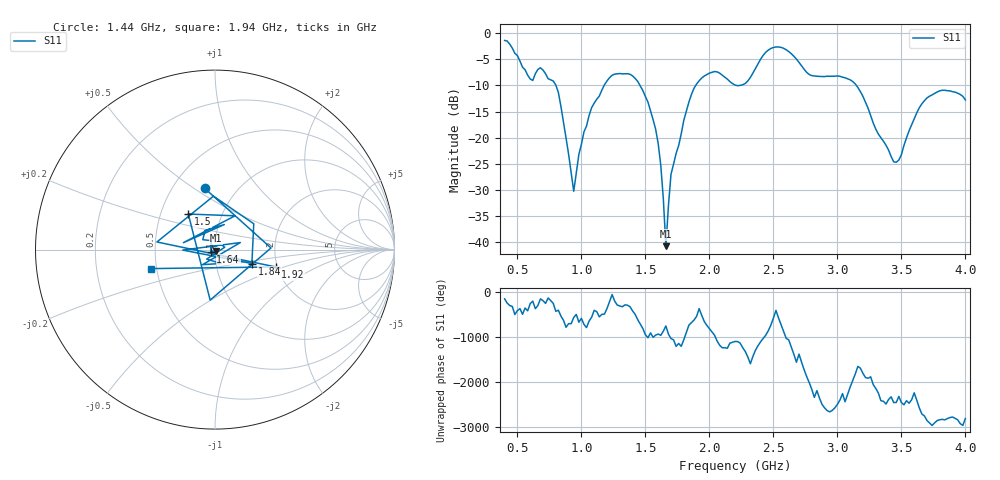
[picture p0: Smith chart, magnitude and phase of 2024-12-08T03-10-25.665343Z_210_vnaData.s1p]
!Created with skrf (http://scikit-rf.org).
# Hz S RI R 50.0
!freq ReS11 ImS11
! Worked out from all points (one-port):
!   181 points, 400 MHz to 4 GHz, reference 50 ohm
!   lowest |S11| = -40.8 dB at 1.66 GHz (marker M1), VSWR 1.02, Z = 50.7 - j0.598 ohm
!   |S11| at or under -10 dB: 801.1 MHz to 1.178 GHz (376.4 MHz wide, 38 % of centre); 1.457 GHz to 1.893 GHz (435.8 MHz wide, 26 % of centre); 3.148 GHz to end of sweep (the widest 3 of 4)
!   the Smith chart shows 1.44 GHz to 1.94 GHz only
!   S11 on the Smith chart (normalised r, x): 1.44 GHz: 0.71, +0.55; 1.5 GHz: 0.69, +0.29; 1.64 GHz: 0.95, -0.02; 1.84 GHz: 1.49, -0.24; 1.92 GHz: 1.96, -0.43; 1.94 GHz: 0.46, -0.11
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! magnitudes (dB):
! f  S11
! 400 MHz  -1.4
! 600 MHz  -8.8
! 680 MHz  -6.6
! 780 MHz  -9.1
! 860 MHz  -17.0
! 940 MHz  -30.3
! 980 MHz  -23.3
! 1.08 GHz  -14.2
! 1.3 GHz  -7.7
! 1.44 GHz  -9.2
! 1.5 GHz  -12.1
! 1.6 GHz  -21.2
! 1.64 GHz  -31.7
! 1.66 GHz  -40.8
! 1.7 GHz  -27.0
! 1.76 GHz  -21.5
! 1.84 GHz  -13.2
! 1.92 GHz  -9.1
! 1.94 GHz  -8.6
! 2.2 GHz  -9.9
! 2.48 GHz  -2.9
! 2.66 GHz  -4.4
! 2.8 GHz  -8.1
! 3.1 GHz  -8.9
! 3.44 GHz  -24.6
! 3.56 GHz  -18.7
! 3.78 GHz  -11.2
! 4 GHz  -12.8
